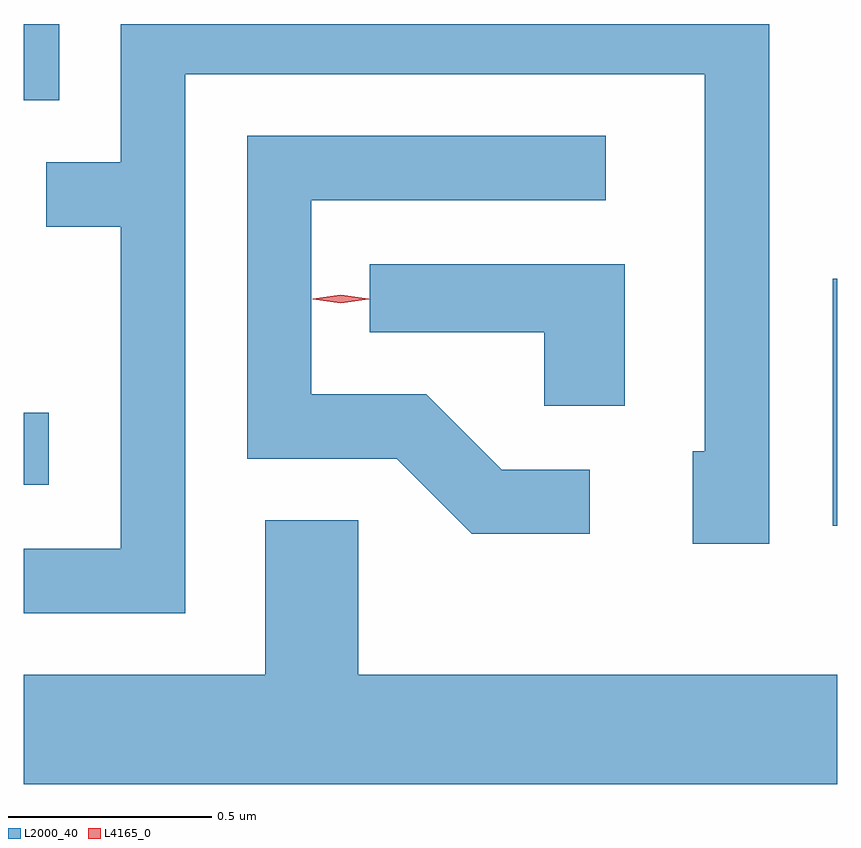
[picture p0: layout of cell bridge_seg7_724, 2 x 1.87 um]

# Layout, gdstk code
import gdstk
lib = gdstk.Library(unit=1e-6, precision=1e-09)
def R(c, l, rs):  # rectangles x0, y0, x1, y1
    for r in rs: c.add(gdstk.rectangle(r[:2], r[2:], *l))
def P(c, l, *ps):  # polygons
    for p in ps: c.add(gdstk.Polygon(p, *l))
L2000_40 = (2000, 40)
L4165_0 = (4165, 0)

bridge_seg7_724 = lib.new_cell('bridge_seg7_724')
R(bridge_seg7_724, L2000_40, [(845.006,1694.971,845.017,1695.578), (843.017,1695.071,843.079,1695.249), (843.017,1696.016,843.104,1696.204)])
P(bridge_seg7_724, L2000_40, [(843.414,1696.081),(844.691,1696.081),(844.691,1695.154),(844.661,1695.154),(844.661,1694.926),(844.849,1694.926),(844.849,1696.204),(843.256,1696.204),(843.256,1695.864),(843.073,1695.864),(843.073,1695.706),(843.256,1695.706),(843.256,1694.914),(843.017,1694.914),(843.017,1694.756),(843.414,1694.756)],
  [(844.408,1695.109),(844.192,1695.109),(844.007,1695.294),(843.724,1695.294),(843.724,1695.771),(844.448,1695.771),(844.448,1695.929),(843.566,1695.929),(843.566,1695.136),(843.934,1695.136),(844.119,1694.951),(844.408,1694.951)],
  [(844.494,1695.614),(843.868,1695.614),(843.868,1695.446),(844.296,1695.446),(844.296,1695.266),(844.494,1695.266)],
  [(845.017,1694.604),(843.839,1694.604),(843.839,1694.984),(843.611,1694.984),(843.611,1694.604),(843.017,1694.604),(843.017,1694.336),(845.017,1694.336)])
P(bridge_seg7_724, L4165_0, [(843.796,1695.518),(843.727,1695.528),(843.727,1695.528),(843.727,1695.529),(843.796,1695.538),(843.865,1695.529),(843.866,1695.528),(843.865,1695.528)],
  [(843.796,1695.518),(843.73,1695.528),(843.729,1695.528),(843.73,1695.529),(843.796,1695.538),(843.862,1695.529),(843.863,1695.528),(843.862,1695.528)])

lib.write_gds('bridge_seg7_724.gds')
